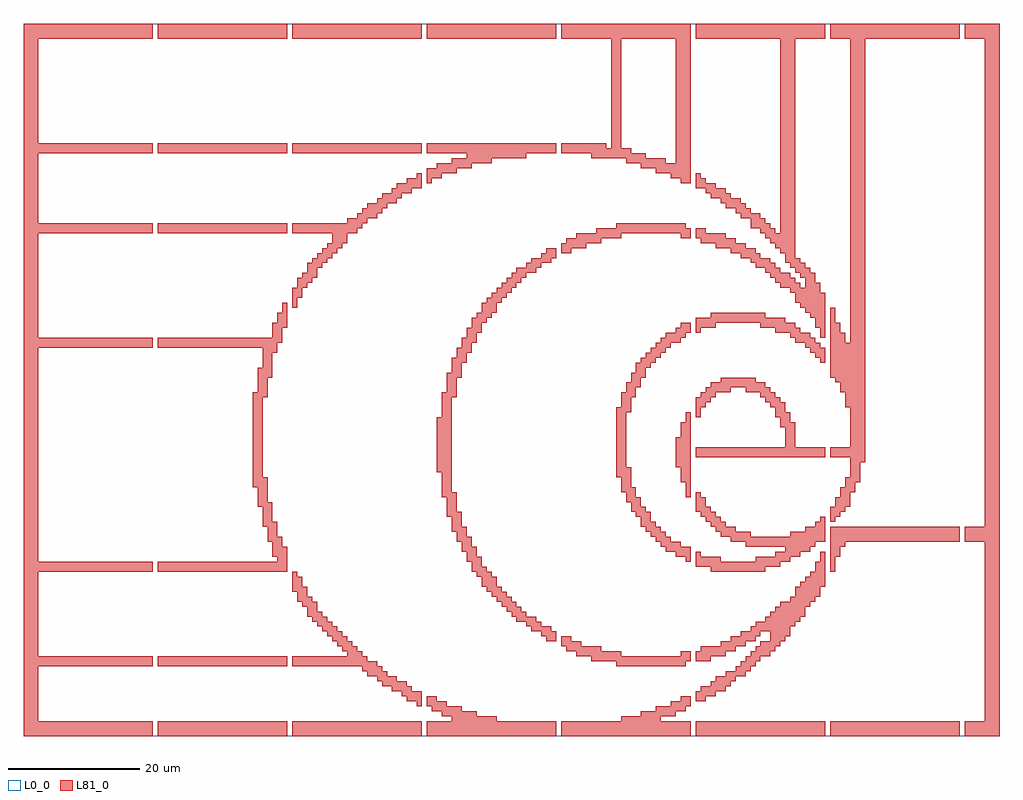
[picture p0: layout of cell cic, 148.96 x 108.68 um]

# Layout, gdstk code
import gdstk
lib = gdstk.Library(unit=1e-6, precision=1e-09)
def R(c, l, rs):  # rectangles x0, y0, x1, y1
    for r in rs: c.add(gdstk.rectangle(r[:2], r[2:], *l))
def A(c, l, x, y, w, h, nx, ny, dx, dy):  # array of equal rectangles
    R(c, l, [(x+i*dx, y+j*dy, x+i*dx+w, y+j*dy+h) for i in range(nx) for j in range(ny)])
def P(c, l, *ps):  # polygons
    for p in ps: c.add(gdstk.Polygon(p, *l))
L0_0 = (0, 0)
L81_0 = (81, 0)

cic = lib.new_cell('cic')
R(cic, L0_0, [(0,0,148.96,108.68)])
A(cic, L81_0, 20.52, 106.4, 19.76, 2.28, 3, 1, 20.52, 0)
R(cic, L81_0, [(20.52,0,40.28,2.28), (41.04,0,60.8,2.28), (102.6,0,122.36,2.28), (123.12,0,142.88,2.28), (20.52,10.64,40.28,12.16), (20.52,76.76,40.28,78.28), (20.52,88.92,40.28,90.44), (41.04,88.92,60.8,90.44)])
P(cic, L81_0, [(61.56,0),(61.56,2.28),(65.36,2.28),(65.36,3.04),(63.84,3.04),(63.84,3.8),(62.32,3.8),(62.32,4.56),(61.56,4.56),(61.56,6.08),(63.08,6.08),(63.08,5.32),(64.6,5.32),(64.6,4.56),(66.88,4.56),(66.88,3.8),(69.16,3.8),(69.16,3.04),(72.2,3.04),(72.2,2.28),(81.32,2.28),(81.32,0)],
  [(82.08,0),(82.08,2.28),(91.2,2.28),(91.2,3.04),(94.24,3.04),(94.24,3.8),(96.52,3.8),(96.52,4.56),(98.8,4.56),(98.8,5.32),(100.32,5.32),(100.32,6.08),(101.84,6.08),(101.84,4.56),(101.08,4.56),(101.08,3.8),(99.56,3.8),(99.56,3.04),(97.28,3.04),(97.28,2.28),(101.84,2.28),(101.84,0)],
  [(90.44,10.64),(90.44,11.4),(86.64,11.4),(86.64,12.16),(84.36,12.16),(84.36,12.92),(82.84,12.92),(82.84,13.68),(82.08,13.68),(82.08,15.2),(83.6,15.2),(83.6,14.44),(85.12,14.44),(85.12,13.68),(88.16,13.68),(88.16,12.92),(91.2,12.92),(91.2,12.16),(100.32,12.16),(100.32,12.92),(101.84,12.92),(101.84,11.4),(101.08,11.4),(101.08,10.64)],
  [(60.04,4.56),(60.04,5.32),(58.52,5.32),(58.52,6.08),(57.76,6.08),(57.76,6.84),(56.24,6.84),(56.24,7.6),(54.72,7.6),(54.72,8.36),(53.96,8.36),(53.96,9.12),(52.44,9.12),(52.44,9.88),(51.68,9.88),(51.68,10.64),(41.04,10.64),(41.04,12.16),(49.4,12.16),(49.4,12.92),(48.64,12.92),(48.64,13.68),(47.88,13.68),(47.88,14.44),(47.12,14.44),(47.12,15.2),(46.36,15.2),(46.36,15.96),(45.6,15.96),(45.6,16.72),(44.84,16.72),(44.84,17.48),(44.08,17.48),(44.08,18.24),(43.32,18.24),(43.32,19.76),(42.56,19.76),(42.56,20.52),(41.8,20.52),(41.8,22.04),(41.04,22.04),(41.04,25.08),(41.8,25.08),(41.8,24.32),(42.56,24.32),(42.56,22.8),(43.32,22.8),(43.32,21.28),(44.08,21.28),(44.08,20.52),(44.84,20.52),(44.84,19),(45.6,19),(45.6,18.24),(46.36,18.24),(46.36,17.48),(47.12,17.48),(47.12,16.72),(47.88,16.72),(47.88,15.96),(48.64,15.96),(48.64,15.2),(49.4,15.2),(49.4,14.44),(50.16,14.44),(50.16,13.68),(50.92,13.68),(50.92,12.92),(51.68,12.92),(51.68,12.16),(52.44,12.16),(52.44,11.4),(53.96,11.4),(53.96,10.64),(54.72,10.64),(54.72,9.88),(55.48,9.88),(55.48,9.12),(57,9.12),(57,8.36),(58.52,8.36),(58.52,7.6),(59.28,7.6),(59.28,6.84),(60.8,6.84),(60.8,4.56)],
  [(102.6,5.32),(102.6,6.84),(103.36,6.84),(103.36,7.6),(104.88,7.6),(104.88,8.36),(105.64,8.36),(105.64,9.12),(107.16,9.12),(107.16,9.88),(108.68,9.88),(108.68,10.64),(109.44,10.64),(109.44,11.4),(110.2,11.4),(110.2,12.16),(110.96,12.16),(110.96,12.92),(111.72,12.92),(111.72,13.68),(112.48,13.68),(112.48,14.44),(114,14.44),(114,15.96),(112.48,15.96),(112.48,15.2),(111.72,15.2),(111.72,14.44),(110.2,14.44),(110.2,13.68),(108.68,13.68),(108.68,12.92),(107.16,12.92),(107.16,12.16),(104.88,12.16),(104.88,11.4),(102.6,11.4),(102.6,12.92),(103.36,12.92),(103.36,13.68),(106.4,13.68),(106.4,14.44),(107.92,14.44),(107.92,15.2),(109.44,15.2),(109.44,15.96),(110.96,15.96),(110.96,16.72),(111.72,16.72),(111.72,17.48),(113.24,17.48),(113.24,18.24),(114,18.24),(114,19),(114.76,19),(114.76,19.76),(115.52,19.76),(115.52,20.52),(117.04,20.52),(117.04,21.28),(117.8,21.28),(117.8,22.8),(118.56,22.8),(118.56,23.56),(119.32,23.56),(119.32,24.32),(120.08,24.32),(120.08,25.08),(120.84,25.08),(120.84,26.6),(121.6,26.6),(121.6,28.12),(122.36,28.12),(122.36,22.8),(121.6,22.8),(121.6,21.28),(120.84,21.28),(120.84,20.52),(120.08,20.52),(120.08,19.76),(119.32,19.76),(119.32,18.24),(118.56,18.24),(118.56,17.48),(117.8,17.48),(117.8,16.72),(117.04,16.72),(117.04,15.2),(116.28,15.2),(116.28,14.44),(115.52,14.44),(115.52,13.68),(114.76,13.68),(114.76,12.92),(114,12.92),(114,12.16),(112.48,12.16),(112.48,11.4),(111.72,11.4),(111.72,10.64),(110.96,10.64),(110.96,9.88),(110.2,9.88),(110.2,9.12),(108.68,9.12),(108.68,8.36),(107.92,8.36),(107.92,7.6),(107.16,7.6),(107.16,6.84),(105.64,6.84),(105.64,6.08),(104.12,6.08),(104.12,5.32)],
  [(123.12,25.08),(123.12,31.92),(142.88,31.92),(142.88,29.64),(125.4,29.64),(125.4,28.88),(124.64,28.88),(124.64,27.36),(123.88,27.36),(123.88,25.08)],
  [(104.88,25.08),(104.88,25.84),(102.6,25.84),(102.6,28.12),(103.36,28.12),(103.36,27.36),(106.4,27.36),(106.4,26.6),(111.72,26.6),(111.72,27.36),(114.76,27.36),(114.76,28.12),(116.28,28.12),(116.28,28.88),(110.2,28.88),(110.2,29.64),(107.92,29.64),(107.92,30.4),(106.4,30.4),(106.4,31.16),(105.64,31.16),(105.64,31.92),(104.88,31.92),(104.88,32.68),(104.12,32.68),(104.12,33.44),(103.36,33.44),(103.36,34.2),(102.6,34.2),(102.6,37.24),(103.36,37.24),(103.36,36.48),(104.12,36.48),(104.12,34.96),(104.88,34.96),(104.88,34.2),(105.64,34.2),(105.64,33.44),(106.4,33.44),(106.4,32.68),(107.16,32.68),(107.16,31.92),(108.68,31.92),(108.68,31.16),(110.96,31.16),(110.96,30.4),(117.04,30.4),(117.04,31.16),(119.32,31.16),(119.32,31.92),(120.84,31.92),(120.84,32.68),(121.6,32.68),(121.6,33.44),(122.36,33.44),(122.36,29.64),(120.84,29.64),(120.84,28.88),(120.08,28.88),(120.08,28.12),(118.56,28.12),(118.56,27.36),(117.04,27.36),(117.04,26.6),(115.52,26.6),(115.52,25.84),(113.24,25.84),(113.24,25.08)],
  [(101.08,36.48),(101.08,38.76),(100.32,38.76),(100.32,41.04),(99.56,41.04),(99.56,45.6),(100.32,45.6),(100.32,47.88),(101.08,47.88),(101.08,49.4),(101.84,49.4),(101.84,36.48)],
  [(102.6,42.56),(102.6,44.08),(116.28,44.08),(116.28,47.12),(115.52,47.12),(115.52,48.64),(114.76,48.64),(114.76,50.16),(114,50.16),(114,50.92),(113.24,50.92),(113.24,51.68),(112.48,51.68),(112.48,52.44),(110.2,52.44),(110.2,53.2),(107.92,53.2),(107.92,52.44),(105.64,52.44),(105.64,51.68),(104.88,51.68),(104.88,50.92),(104.12,50.92),(104.12,50.16),(103.36,50.16),(103.36,48.64),(102.6,48.64),(102.6,51.68),(103.36,51.68),(103.36,52.44),(104.12,52.44),(104.12,53.2),(104.88,53.2),(104.88,53.96),(106.4,53.96),(106.4,54.72),(111.72,54.72),(111.72,53.96),(113.24,53.96),(113.24,53.2),(114,53.2),(114,52.44),(114.76,52.44),(114.76,51.68),(115.52,51.68),(115.52,50.92),(116.28,50.92),(116.28,49.4),(117.04,49.4),(117.04,47.88),(117.8,47.88),(117.8,44.08),(122.36,44.08),(122.36,42.56)],
  [(101.08,26.6),(101.08,27.36),(99.56,27.36),(99.56,28.12),(98.04,28.12),(98.04,28.88),(97.28,28.88),(97.28,29.64),(96.52,29.64),(96.52,30.4),(95.76,30.4),(95.76,31.16),(95,31.16),(95,31.92),(94.24,31.92),(94.24,33.44),(93.48,33.44),(93.48,34.2),(92.72,34.2),(92.72,35.72),(91.96,35.72),(91.96,37.24),(91.2,37.24),(91.2,39.52),(90.44,39.52),(90.44,50.16),(91.2,50.16),(91.2,52.44),(91.96,52.44),(91.96,53.96),(92.72,53.96),(92.72,55.48),(93.48,55.48),(93.48,57),(94.24,57),(94.24,57.76),(95,57.76),(95,58.52),(95.76,58.52),(95.76,59.28),(96.52,59.28),(96.52,60.04),(97.28,60.04),(97.28,60.8),(98.04,60.8),(98.04,61.56),(99.56,61.56),(99.56,62.32),(100.32,62.32),(100.32,63.08),(101.84,63.08),(101.84,61.56),(101.08,61.56),(101.08,60.8),(100.32,60.8),(100.32,60.04),(98.8,60.04),(98.8,59.28),(98.04,59.28),(98.04,58.52),(97.28,58.52),(97.28,57.76),(96.52,57.76),(96.52,57),(95.76,57),(95.76,56.24),(95,56.24),(95,54.72),(94.24,54.72),(94.24,53.2),(93.48,53.2),(93.48,51.68),(92.72,51.68),(92.72,49.4),(91.96,49.4),(91.96,41.04),(92.72,41.04),(92.72,38),(93.48,38),(93.48,36.48),(94.24,36.48),(94.24,34.96),(95,34.96),(95,34.2),(95.76,34.2),(95.76,32.68),(96.52,32.68),(96.52,31.92),(97.28,31.92),(97.28,31.16),(98.04,31.16),(98.04,30.4),(98.8,30.4),(98.8,29.64),(100.32,29.64),(100.32,28.88),(101.84,28.88),(101.84,26.6)],
  [(121.6,57),(121.6,57.76),(120.84,57.76),(120.84,58.52),(120.08,58.52),(120.08,59.28),(119.32,59.28),(119.32,60.04),(117.8,60.04),(117.8,60.8),(117.04,60.8),(117.04,61.56),(114.76,61.56),(114.76,62.32),(112.48,62.32),(112.48,63.08),(105.64,63.08),(105.64,62.32),(103.36,62.32),(103.36,61.56),(102.6,61.56),(102.6,63.84),(104.88,63.84),(104.88,64.6),(113.24,64.6),(113.24,63.84),(116.28,63.84),(116.28,63.08),(117.8,63.08),(117.8,62.32),(118.56,62.32),(118.56,61.56),(120.08,61.56),(120.08,60.8),(120.84,60.8),(120.84,60.04),(121.6,60.04),(121.6,59.28),(122.36,59.28),(122.36,57)],
  [(20.52,25.08),(20.52,26.6),(38.76,26.6),(38.76,27.36),(38,27.36),(38,29.64),(37.24,29.64),(37.24,31.92),(36.48,31.92),(36.48,34.96),(35.72,34.96),(35.72,38),(34.96,38),(34.96,52.44),(35.72,52.44),(35.72,56.24),(36.48,56.24),(36.48,59.28),(20.52,59.28),(20.52,60.8),(38,60.8),(38,63.08),(38.76,63.08),(38.76,64.6),(39.52,64.6),(39.52,66.12),(40.28,66.12),(40.28,62.32),(39.52,62.32),(39.52,60.04),(38.76,60.04),(38.76,58.52),(38,58.52),(38,54.72),(37.24,54.72),(37.24,51.68),(36.48,51.68),(36.48,39.52),(37.24,39.52),(37.24,35.72),(38,35.72),(38,32.68),(38.76,32.68),(38.76,30.4),(39.52,30.4),(39.52,28.88),(40.28,28.88),(40.28,25.08)],
  [(79.8,14.44),(79.8,15.2),(79.04,15.2),(79.04,15.96),(77.52,15.96),(77.52,16.72),(76.76,16.72),(76.76,17.48),(75.24,17.48),(75.24,18.24),(74.48,18.24),(74.48,19),(73.72,19),(73.72,19.76),(72.96,19.76),(72.96,20.52),(72.2,20.52),(72.2,21.28),(71.44,21.28),(71.44,22.04),(70.68,22.04),(70.68,22.8),(69.92,22.8),(69.92,24.32),(69.16,24.32),(69.16,25.08),(68.4,25.08),(68.4,26.6),(67.64,26.6),(67.64,28.12),(66.88,28.12),(66.88,29.64),(66.12,29.64),(66.12,31.16),(65.36,31.16),(65.36,33.44),(64.6,33.44),(64.6,36.48),(63.84,36.48),(63.84,40.28),(63.08,40.28),(63.08,48.64),(63.84,48.64),(63.84,52.44),(64.6,52.44),(64.6,55.48),(65.36,55.48),(65.36,57.76),(66.12,57.76),(66.12,59.28),(66.88,59.28),(66.88,60.8),(67.64,60.8),(67.64,62.32),(68.4,62.32),(68.4,63.84),(69.16,63.84),(69.16,64.6),(69.92,64.6),(69.92,66.12),(70.68,66.12),(70.68,66.88),(71.44,66.88),(71.44,67.64),(72.2,67.64),(72.2,68.4),(72.96,68.4),(72.96,69.16),(73.72,69.16),(73.72,69.92),(74.48,69.92),(74.48,70.68),(75.24,70.68),(75.24,71.44),(76.76,71.44),(76.76,72.2),(77.52,72.2),(77.52,72.96),(79.04,72.96),(79.04,73.72),(79.8,73.72),(79.8,74.48),(81.32,74.48),(81.32,72.96),(80.56,72.96),(80.56,72.2),(79.04,72.2),(79.04,71.44),(78.28,71.44),(78.28,70.68),(76.76,70.68),(76.76,69.92),(76,69.92),(76,69.16),(75.24,69.16),(75.24,68.4),(74.48,68.4),(74.48,67.64),(73.72,67.64),(73.72,66.88),(72.96,66.88),(72.96,66.12),(72.2,66.12),(72.2,64.6),(71.44,64.6),(71.44,63.84),(70.68,63.84),(70.68,63.08),(69.92,63.08),(69.92,61.56),(69.16,61.56),(69.16,60.04),(68.4,60.04),(68.4,58.52),(67.64,58.52),(67.64,57),(66.88,57),(66.88,54.72),(66.12,54.72),(66.12,51.68),(65.36,51.68),(65.36,37.24),(66.12,37.24),(66.12,34.2),(66.88,34.2),(66.88,31.92),(67.64,31.92),(67.64,30.4),(68.4,30.4),(68.4,28.88),(69.16,28.88),(69.16,27.36),(69.92,27.36),(69.92,25.84),(70.68,25.84),(70.68,25.08),(71.44,25.08),(71.44,24.32),(72.2,24.32),(72.2,22.8),(72.96,22.8),(72.96,22.04),(73.72,22.04),(73.72,21.28),(74.48,21.28),(74.48,20.52),(75.24,20.52),(75.24,19.76),(76,19.76),(76,19),(76.76,19),(76.76,18.24),(78.28,18.24),(78.28,17.48),(79.04,17.48),(79.04,16.72),(80.56,16.72),(80.56,15.96),(81.32,15.96),(81.32,14.44)],
  [(82.08,73.72),(82.08,75.24),(82.84,75.24),(82.84,76),(84.36,76),(84.36,76.76),(87.4,76.76),(87.4,77.52),(90.44,77.52),(90.44,78.28),(101.08,78.28),(101.08,77.52),(101.84,77.52),(101.84,76),(100.32,76),(100.32,76.76),(91.2,76.76),(91.2,76),(88.16,76),(88.16,75.24),(85.88,75.24),(85.88,74.48),(83.6,74.48),(83.6,73.72)],
  [(41.04,65.36),(41.04,68.4),(41.8,68.4),(41.8,69.92),(42.56,69.92),(42.56,70.68),(43.32,70.68),(43.32,72.2),(44.08,72.2),(44.08,72.96),(44.84,72.96),(44.84,73.72),(45.6,73.72),(45.6,74.48),(46.36,74.48),(46.36,75.24),(47.12,75.24),(47.12,76.76),(41.04,76.76),(41.04,78.28),(49.4,78.28),(49.4,79.04),(50.92,79.04),(50.92,79.8),(51.68,79.8),(51.68,80.56),(52.44,80.56),(52.44,81.32),(53.96,81.32),(53.96,82.08),(54.72,82.08),(54.72,82.84),(56.24,82.84),(56.24,83.6),(57,83.6),(57,84.36),(58.52,84.36),(58.52,85.12),(60.04,85.12),(60.04,85.88),(60.8,85.88),(60.8,83.6),(59.28,83.6),(59.28,82.84),(57.76,82.84),(57.76,82.08),(57,82.08),(57,81.32),(55.48,81.32),(55.48,80.56),(54.72,80.56),(54.72,79.8),(53.96,79.8),(53.96,79.04),(52.44,79.04),(52.44,78.28),(51.68,78.28),(51.68,77.52),(50.92,77.52),(50.92,76.76),(49.4,76.76),(49.4,75.24),(48.64,75.24),(48.64,74.48),(47.88,74.48),(47.88,73.72),(47.12,73.72),(47.12,72.96),(46.36,72.96),(46.36,72.2),(45.6,72.2),(45.6,71.44),(44.84,71.44),(44.84,69.92),(44.08,69.92),(44.08,69.16),(43.32,69.16),(43.32,68.4),(42.56,68.4),(42.56,66.88),(41.8,66.88),(41.8,65.36)],
  [(61.56,84.36),(61.56,86.64),(63.08,86.64),(63.08,87.4),(65.36,87.4),(65.36,88.16),(67.64,88.16),(67.64,88.92),(61.56,88.92),(61.56,90.44),(81.32,90.44),(81.32,88.92),(76.76,88.92),(76.76,88.16),(71.44,88.16),(71.44,87.4),(68.4,87.4),(68.4,86.64),(66.12,86.64),(66.12,85.88),(63.84,85.88),(63.84,85.12),(62.32,85.12),(62.32,84.36)],
  [(0,0),(0,108.68),(19.76,108.68),(19.76,106.4),(2.28,106.4),(2.28,90.44),(19.76,90.44),(19.76,88.92),(2.28,88.92),(2.28,78.28),(19.76,78.28),(19.76,76.76),(2.28,76.76),(2.28,60.8),(19.76,60.8),(19.76,59.28),(2.28,59.28),(2.28,26.6),(19.76,26.6),(19.76,25.08),(2.28,25.08),(2.28,12.16),(19.76,12.16),(19.76,10.64),(2.28,10.64),(2.28,2.28),(19.76,2.28),(19.76,0)],
  [(100.32,84.36),(100.32,85.12),(98.8,85.12),(98.8,85.88),(96.52,85.88),(96.52,86.64),(94.24,86.64),(94.24,87.4),(91.96,87.4),(91.96,88.16),(86.64,88.16),(86.64,88.92),(82.08,88.92),(82.08,90.44),(88.92,90.44),(88.92,89.68),(89.68,89.68),(89.68,106.4),(91.2,106.4),(91.2,89.68),(92.72,89.68),(92.72,88.92),(95,88.92),(95,88.16),(98.04,88.16),(98.04,87.4),(99.56,87.4),(99.56,106.4),(82.08,106.4),(82.08,108.68),(101.84,108.68),(101.84,84.36)],
  [(121.6,60.8),(121.6,62.32),(120.84,62.32),(120.84,63.84),(120.08,63.84),(120.08,64.6),(119.32,64.6),(119.32,65.36),(118.56,65.36),(118.56,66.12),(117.8,66.12),(117.8,67.64),(117.04,67.64),(117.04,68.4),(115.52,68.4),(115.52,69.16),(114.76,69.16),(114.76,69.92),(114,69.92),(114,70.68),(113.24,70.68),(113.24,71.44),(111.72,71.44),(111.72,72.2),(110.96,72.2),(110.96,72.96),(109.44,72.96),(109.44,73.72),(107.92,73.72),(107.92,74.48),(105.64,74.48),(105.64,75.24),(103.36,75.24),(103.36,76),(102.6,76),(102.6,77.52),(104.12,77.52),(104.12,76.76),(107.16,76.76),(107.16,76),(108.68,76),(108.68,75.24),(110.2,75.24),(110.2,74.48),(111.72,74.48),(111.72,73.72),(112.48,73.72),(112.48,72.96),(114,72.96),(114,72.2),(114.76,72.2),(114.76,71.44),(115.52,71.44),(115.52,70.68),(117.04,70.68),(117.04,69.92),(117.8,69.92),(117.8,69.16),(118.56,69.16),(118.56,68.4),(119.32,68.4),(119.32,69.92),(118.56,69.92),(118.56,70.68),(117.8,70.68),(117.8,71.44),(117.04,71.44),(117.04,72.2),(116.28,72.2),(116.28,73.72),(115.52,73.72),(115.52,74.48),(114.76,74.48),(114.76,75.24),(114,75.24),(114,76),(113.24,76),(113.24,76.76),(112.48,76.76),(112.48,77.52),(110.96,77.52),(110.96,79.04),(109.44,79.04),(109.44,79.8),(108.68,79.8),(108.68,80.56),(107.16,80.56),(107.16,81.32),(106.4,81.32),(106.4,82.08),(104.88,82.08),(104.88,82.84),(104.12,82.84),(104.12,83.6),(102.6,83.6),(102.6,85.88),(103.36,85.88),(103.36,85.12),(104.12,85.12),(104.12,84.36),(105.64,84.36),(105.64,83.6),(107.16,83.6),(107.16,82.84),(107.92,82.84),(107.92,82.08),(109.44,82.08),(109.44,81.32),(110.2,81.32),(110.2,80.56),(110.96,80.56),(110.96,79.8),(112.48,79.8),(112.48,79.04),(113.24,79.04),(113.24,78.28),(114,78.28),(114,77.52),(114.76,77.52),(114.76,76.76),(115.52,76.76),(115.52,106.4),(102.6,106.4),(102.6,108.68),(122.36,108.68),(122.36,106.4),(117.8,106.4),(117.8,72.96),(118.56,72.96),(118.56,72.2),(119.32,72.2),(119.32,71.44),(120.08,71.44),(120.08,70.68),(120.84,70.68),(120.84,69.16),(121.6,69.16),(121.6,67.64),(122.36,67.64),(122.36,60.8)],
  [(123.12,32.68),(123.12,34.96),(123.88,34.96),(123.88,36.48),(124.64,36.48),(124.64,38),(125.4,38),(125.4,39.52),(126.16,39.52),(126.16,42.56),(123.12,42.56),(123.12,44.08),(126.16,44.08),(126.16,50.16),(125.4,50.16),(125.4,52.44),(124.64,52.44),(124.64,53.96),(123.88,53.96),(123.88,54.72),(123.12,54.72),(123.12,65.36),(123.88,65.36),(123.88,63.08),(124.64,63.08),(124.64,61.56),(125.4,61.56),(125.4,60.04),(126.16,60.04),(126.16,106.4),(123.12,106.4),(123.12,108.68),(142.88,108.68),(142.88,106.4),(128.44,106.4),(128.44,41.8),(127.68,41.8),(127.68,38.76),(126.92,38.76),(126.92,37.24),(126.16,37.24),(126.16,34.96),(125.4,34.96),(125.4,34.2),(124.64,34.2),(124.64,33.44),(123.88,33.44),(123.88,32.68)],
  [(143.64,0),(143.64,2.28),(146.68,2.28),(146.68,29.64),(143.64,29.64),(143.64,31.92),(146.68,31.92),(146.68,106.4),(143.64,106.4),(143.64,108.68),(148.96,108.68),(148.96,0)])

lib.write_gds('cic.gds')
